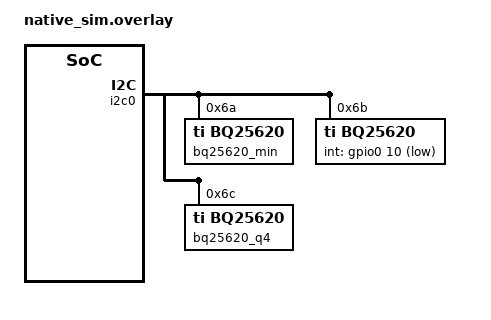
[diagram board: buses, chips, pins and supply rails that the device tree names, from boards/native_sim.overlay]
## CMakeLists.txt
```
# Copyright (c) 2026 Testo SE & Co. KGaA
# SPDX-License-Identifier: Apache-2.0

cmake_minimum_required(VERSION 3.28.0)
find_package(Zephyr REQUIRED HINTS $ENV{ZEPHYR_BASE})
project(bq25620)

target_sources(app PRIVATE src/test_bq25620.c)
target_include_directories(app PRIVATE ${ZEPHYR_BASE}/drivers/mfd)
```

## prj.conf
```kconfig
CONFIG_ZTEST=y
CONFIG_I2C=y
CONFIG_GPIO=y
CONFIG_EMUL=y
CONFIG_LOG=y

CONFIG_CHARGER=y
```

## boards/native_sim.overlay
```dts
/*
 * Copyright (c) 2026 Testo SE & Co. KGaA
 *
 * SPDX-License-Identifier: Apache-2.0
 */

#include <zephyr/dt-bindings/gpio/gpio.h>

&i2c0 {
	/* Minimal configuration, initialized by the test */
	bq25620_min: bq25620@6a {
		compatible = "ti,bq25620";
		reg = <0x6a>;
		status = "okay";

		charger_min: charger {
			compatible = "ti,bq25620-charger";
			constant-charge-current-max-microamp = <1040000>;
			constant-charge-voltage-max-microvolt = <4200000>;
			zephyr,deferred-init;
		};
	};

	bq25620: bq25620@6b {
		compatible = "ti,bq25620";
		reg = <0x6b>;
		int-gpios = <&gpio0 10 GPIO_ACTIVE_LOW>;
		status = "okay";

		charger: charger {
			compatible = "ti,bq25620-charger";
			ce-gpios = <&gpio0 11 GPIO_ACTIVE_LOW>;
			constant-charge-current-max-microamp = <2000000>;
			constant-charge-voltage-max-microvolt = <4350000>;
			precharge-current-microamp = <80000>;
			charge-term-current-microamp = <120000>;
			re-charge-threshold-microvolt = <200000>;
			ti,input-current-limit-microamp = <500000>;
			ti,input-voltage-limit-microvolt = <4400000>;
			ti,min-sys-voltage-microvolt = <3120000>;
			ti,vindpm-bat-track-microvolt = <0>;
			ti,q1-fullon;
			ti,disable-timer-2x;
			ti,precharge-timer = "0.62h";
			ti,fast-charge-timer = "28h";
			ti,disable-auto-battery-discharge;
			ti,vbus-ovp-microvolt = <6300000>;
			ti,ibat-peak-current-microamp = <6000000>;
			ti,charge-rate = "2C";
			ti,thermal-regulation-celsius = <60>;
			ti,switching-frequency-hz = <1650000>;
			ti,converter-drive-strength = "normal";
			ti,ts-ignore;
		};
	};

	/* Battery FET forced on, initialized by the test */
	bq25620_q4: bq25620@6c {
		compatible = "ti,bq25620";
		reg = <0x6c>;
		status = "okay";

		charger_q4: charger {
			compatible = "ti,bq25620-charger";
			constant-charge-current-max-microamp = <1040000>;
			constant-charge-voltage-max-microvolt = <4200000>;
			ti,q4-fullon;
			zephyr,deferred-init;
		};
	};
};
```

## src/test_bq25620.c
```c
/*
 * Copyright (c) 2026 Testo SE & Co. KGaA
 *
 * SPDX-License-Identifier: Apache-2.0
 */

#include <zephyr/device.h>
#include <zephyr/drivers/charger.h>
#include <zephyr/drivers/emul.h>
#include <zephyr/drivers/gpio.h>
#include <zephyr/drivers/gpio/gpio_emul.h>
#include <zephyr/kernel.h>
#include <zephyr/sys/util.h>
#include <zephyr/ztest.h>

#include "emul_bq25620.h"
#include "mfd_bq25620.h"

#define CHARGER_NODE DT_NODELABEL(charger)
#define MFD_NODE     DT_NODELABEL(bq25620)

static const struct gpio_dt_spec int_gpio = GPIO_DT_SPEC_GET(MFD_NODE, int_gpios);
static const struct gpio_dt_spec ce_gpio = GPIO_DT_SPEC_GET(CHARGER_NODE, ce_gpios);

struct bq25620_fixture {
	const struct device *dev;
	const struct emul *target;
	/* Registers after the driver initialization */
	uint8_t init_regs[BQ25620_REG_COUNT];
};

static enum charger_status notified_status;
static enum charger_online notified_online;
static int status_notifications;
static int online_notifications;

static void status_notifier(enum charger_status status)
{
	notified_status = status;
	status_notifications++;
}

static void online_notifier(enum charger_online online)
{
	notified_online = online;
	online_notifications++;
}

static void *bq25620_setup(void)
{
	static struct bq25620_fixture fixture;

	fixture.dev = DEVICE_DT_GET(CHARGER_NODE);
	fixture.target = EMUL_DT_GET(MFD_NODE);

	zassert_true(device_is_ready(fixture.dev), "Charger not ready");

	for (uint8_t reg = 0; reg < BQ25620_REG_COUNT; reg++) {
		fixture.init_regs[reg] = emul_bq25620_get_reg(fixture.target, reg);
	}

	return &fixture;
}

static void bq25620_before(void *f)
{
	struct bq25620_fixture *fixture = f;

	emul_bq25620_set_reg(fixture->target, BQ25620_REG_CHG_STAT_0, 0);
	emul_bq25620_set_reg(fixture->target, BQ25620_REG_CHG_STAT_1, 0);
	emul_bq25620_set_reg(fixture->target, BQ25620_REG_FAULT_STAT_0, 0);
	zassert_ok(charger_charge_enable(fixture->dev, false));
}

static uint32_t get_uint(const struct device *dev, charger_prop_t prop)
{
	union charger_propval val = {};

	zassert_ok(charger_get_prop(dev, prop, &val), "Reading property %u failed", prop);

	/* All limit properties share the uint32_t representation */
	return val.const_charge_current_ua;
}

static int set_uint(const struct device *dev, charger_prop_t prop, uint32_t value)
{
	union charger_propval val = {.const_charge_current_ua = value};

	return charger_set_prop(dev, prop, &val);
}

static void set_vbus_chg_stat(const struct emul *target, uint8_t vbus_stat, uint8_t chg_stat)
{
	emul_bq25620_set_reg(target, BQ25620_REG_CHG_STAT_1,
			     FIELD_PREP(BQ25620_CHG_STAT_1_VBUS_STAT, vbus_stat) |
				     FIELD_PREP(BQ25620_CHG_STAT_1_CHG_STAT, chg_stat));
}

static enum charger_status get_status(const struct device *dev)
{
	union charger_propval val = {};

	zassert_ok(charger_get_prop(dev, CHARGER_PROP_STATUS, &val));

	return val.status;
}

static enum charger_online get_online(const struct device *dev)
{
	union charger_propval val = {};

	zassert_ok(charger_get_prop(dev, CHARGER_PROP_ONLINE, &val));

	return val.online;
}

static enum charger_charge_type get_charge_type(const struct device *dev)
{
	union charger_propval val = {};

	zassert_ok(charger_get_prop(dev, CHARGER_PROP_CHARGE_TYPE, &val));

	return val.charge_type;
}

static enum charger_health get_health(const struct device *dev)
{
	union charger_propval val = {};

	zassert_ok(charger_get_prop(dev, CHARGER_PROP_HEALTH, &val));

	return val.health;
}

static uint16_t init_reg16(const struct bq25620_fixture *fixture, uint8_t reg)
{
	return fixture->init_regs[reg] | (fixture->init_regs[reg + 1] << 8);
}

ZTEST_F(bq25620, test_init_limits)
{
	/* 2 A charge current, 80 mA steps */
	zassert_equal(init_reg16(fixture, BQ25620_REG_ICHG), 25 << BQ25620_ICHG_SHIFT);
	/* 4.35 V charge voltage, 10 mV steps */
	zassert_equal(init_reg16(fixture, BQ25620_REG_VREG), 435 << BQ25620_VREG_SHIFT);
	/* 80 mA pre-charge current, 20 mA steps */
	zassert_equal(init_reg16(fixture, BQ25620_REG_IPRECHG), 4 << BQ25620_IPRECHG_SHIFT);
	/* 120 mA termination current, 10 mA steps */
	zassert_equal(init_reg16(fixture, BQ25620_REG_ITERM), 12 << BQ25620_ITERM_SHIFT);
	/* 500 mA input current limit, 20 mA steps */
	zassert_equal(init_reg16(fixture, BQ25620_REG_IINDPM), 25 << BQ25620_IINDPM_SHIFT);
	/* 4.4 V input voltage limit, 40 mV steps */
	zassert_equal(init_reg16(fixture, BQ25620_REG_VINDPM), 110 << BQ25620_VINDPM_SHIFT);
	/* 3.12 V minimal system voltage, 80 mV steps */
	zassert_equal(init_reg16(fixture, BQ25620_REG_VSYSMIN), 39 << BQ25620_VSYSMIN_SHIFT);
}

ZTEST_F(bq25620, test_init_ctrl)
{
	/* Q1_FULLON, EN_TERM (reset value), VRECHG 200 mV, no VINDPM tracking */
	zassert_equal(fixture->init_regs[BQ25620_REG_CHG_CTRL_0], 0x85);
	/* EN_AUTO_INDET, EN_DCP_BIAS, EN_SAFETY_TMRS (reset values), 0.62 h, 28 h */
	zassert_equal(fixture->init_regs[BQ25620_REG_TIMER_CTRL], 0x57);
	/* EN_CHG (reset value), watchdog and auto battery discharge disabled */
	zassert_equal(fixture->init_regs[BQ25620_REG_CHG_CTRL_1], BQ25620_CHG_CTRL_1_EN_CHG);
	/* TREG 60 C, 1.65 MHz, normal drive strength, 6.3 V OVP, reserved bit 1 */
	zassert_equal(fixture->init_regs[BQ25620_REG_CHG_CTRL_2], 0x26);
	/* IBAT_PK 6 A, 2C */
	zassert_equal(fixture->init_regs[BQ25620_REG_CHG_CTRL_4], 0x81);
	/* TS_IGNORE on top of the reset value */
	zassert_equal(fixture->init_regs[BQ25620_REG_NTC_CTRL_0], 0xbd);
}

ZTEST(bq25620, test_init_defaults)
{
	const struct device *dev = DEVICE_DT_GET(DT_NODELABEL(charger_min));
	const struct emul *target = EMUL_DT_GET(DT_NODELABEL(bq25620_min));
	union charger_propval val = {};

	zassert_false(device_is_ready(dev));

	/* Settings left by a previous boot, the device registers are not reset */
	emul_bq25620_set_reg(target, BQ25620_REG_IINDPM, 0x90);
	emul_bq25620_set_reg(target, BQ25620_REG_IINDPM + 1, 0x01);
	emul_bq25620_set_reg(target, BQ25620_REG_IPRECHG, 0xf0);
	emul_bq25620_set_reg(target, BQ25620_REG_IPRECHG + 1, 0x01);
	emul_bq25620_set_reg(target, BQ25620_REG_ITERM, 0xf8);
	emul_bq25620_set_reg(target, BQ25620_REG_ITERM + 1, 0x01);
	emul_bq25620_set_reg(target, BQ25620_REG_VINDPM, 0x80);
	emul_bq25620_set_reg(target, BQ25620_REG_VINDPM + 1, 0x34);
	emul_bq25620_set_reg(target, BQ25620_REG_VSYSMIN, 0x00);
	emul_bq25620_set_reg(target, BQ25620_REG_VSYSMIN + 1, 0x08);
	emul_bq25620_set_reg(target, BQ25620_REG_CHG_CTRL_0, 0xc5);
	emul_bq25620_set_reg(target, BQ25620_REG_TIMER_CTRL, 0x53);
	emul_bq25620_set_reg(target, BQ25620_REG_CHG_CTRL_1, 0x00);
	emul_bq25620_set_reg(target, BQ25620_REG_CHG_CTRL_2, 0x26);
	emul_bq25620_set_reg(target, BQ25620_REG_CHG_CTRL_4, 0x83);
	emul_bq25620_set_reg(target, BQ25620_REG_NTC_CTRL_0, 0xbd);

	zassert_ok(device_init(dev));

	/* Charge current and voltage from the devicetree */
	zassert_equal(emul_bq25620_get_reg(target, BQ25620_REG_ICHG), 0x40);
	zassert_equal(emul_bq25620_get_reg(target, BQ25620_REG_ICHG + 1), 0x03);
	zassert_equal(emul_bq25620_get_reg(target, BQ25620_REG_VREG), 0x20);
	zassert_equal(emul_bq25620_get_reg(target, BQ25620_REG_VREG + 1), 0x0d);

	/* The input current limit is left to the adapter detection */
	zassert_equal(emul_bq25620_get_reg(target, BQ25620_REG_IINDPM), 0x90);
	zassert_equal(emul_bq25620_get_reg(target, BQ25620_REG_IINDPM + 1), 0x01);

	/* All other settings are back at their reset values */
	zassert_equal(emul_bq25620_get_reg(target, BQ25620_REG_IPRECHG), 0x50);
	zassert_equal(emul_bq25620_get_reg(target, BQ25620_REG_IPRECHG + 1), 0x00);
	zassert_equal(emul_bq25620_get_reg(target, BQ25620_REG_ITERM), 0x30);
	zassert_equal(emul_bq25620_get_reg(target, BQ25620_REG_ITERM + 1), 0x00);
	zassert_equal(emul_bq25620_get_reg(target, BQ25620_REG_VINDPM), 0x60);
	zassert_equal(emul_bq25620_get_reg(target, BQ25620_REG_VINDPM + 1), 0x0e);
	zassert_equal(emul_bq25620_get_reg(target, BQ25620_REG_VSYSMIN), 0x00);
	zassert_equal(emul_bq25620_get_reg(target, BQ25620_REG_VSYSMIN + 1), 0x0b);
	zassert_equal(emul_bq25620_get_reg(target, BQ25620_REG_CHG_CTRL_0), 0x06);
	zassert_equal(emul_bq25620_get_reg(target, BQ25620_REG_TIMER_CTRL), 0x5c);
	/* EN_CHG and EN_AUTO_IBATDIS set, watchdog disabled by the MFD */
	zassert_equal(emul_bq25620_get_reg(target, BQ25620_REG_CHG_CTRL_1), 0xa0);
	zassert_equal(emul_bq25620_get_reg(target, BQ25620_REG_CHG_CTRL_2), 0x4f);
	zassert_equal(emul_bq25620_get_reg(target, BQ25620_REG_CHG_CTRL_4), 0xc0);
	zassert_equal(emul_bq25620_get_reg(target, BQ25620_REG_NTC_CTRL_0), 0x3d);

	/* Without a charge enable pin, charging is enabled after initialization */
	set_vbus_chg_stat(target, 0x3, BQ25620_CHG_STAT_CC);
	zassert_equal(get_status(dev), CHARGER_STATUS_CHARGING);

	/* Notifications need the interrupt pin */
	val.status_notification = status_notifier;
	zassert_equal(charger_set_prop(dev, CHARGER_PROP_STATUS_NOTIFICATION, &val), -ENOTSUP);
	val.online_notification = online_notifier;
	zassert_equal(charger_set_prop(dev, CHARGER_PROP_ONLINE_NOTIFICATION, &val), -ENOTSUP);
}

ZTEST(bq25620, test_q4_fullon_limits)
{
	const struct device *dev = DEVICE_DT_GET(DT_NODELABEL(charger_q4));
	const struct emul *target = EMUL_DT_GET(DT_NODELABEL(bq25620_q4));
	uint8_t ctrl;

	zassert_false(device_is_ready(dev));
	zassert_ok(device_init(dev));

	ctrl = emul_bq25620_get_reg(target, BQ25620_REG_CHG_CTRL_0);
	zassert_not_equal(ctrl & BQ25620_CHG_CTRL_0_Q4_FULLON, 0);

	/* Pre-charge current reset value, termination current raised to its minimum */
	zassert_equal(get_uint(dev, CHARGER_PROP_PRECHARGE_CURRENT_UA), 100000);
	zassert_equal(get_uint(dev, CHARGER_PROP_CHARGE_TERM_CURRENT_UA), 120000);

	zassert_ok(set_uint(dev, CHARGER_PROP_PRECHARGE_CURRENT_UA, 80000));
	zassert_equal(get_uint(dev, CHARGER_PROP_PRECHARGE_CURRENT_UA), 80000);
	zassert_equal(set_uint(dev, CHARGER_PROP_PRECHARGE_CURRENT_UA, 60000), -EINVAL);
	zassert_equal(get_uint(dev, CHARGER_PROP_PRECHARGE_CURRENT_UA), 80000);

	zassert_ok(set_uint(dev, CHARGER_PROP_CHARGE_TERM_CURRENT_UA, 130000));
	zassert_equal(get_uint(dev, CHARGER_PROP_CHARGE_TERM_CURRENT_UA), 130000);
	zassert_equal(set_uint(dev, CHARGER_PROP_CHARGE_TERM_CURRENT_UA, 110000), -EINVAL);
	zassert_equal(get_uint(dev, CHARGER_PROP_CHARGE_TERM_CURRENT_UA), 130000);
}

ZTEST_F(bq25620, test_init_masks)
{
	/* Only the VBUS and charge status events used by the charger are unmasked */
	zassert_equal(fixture->init_regs[BQ25620_REG_CHG_MASK_0], BQ25620_CHG_MASK_0_ALL);
	zassert_equal(fixture->init_regs[BQ25620_REG_CHG_MASK_1], 0x00);
	zassert_equal(fixture->init_regs[BQ25620_REG_FAULT_MASK_0], BQ25620_FAULT_MASK_0_ALL);
}

ZTEST_F(bq25620, test_set_limits)
{
	/* Values are rounded down to the step size */
	zassert_ok(set_uint(fixture->dev, CHARGER_PROP_CONSTANT_CHARGE_CURRENT_UA, 1000000));
	zassert_equal(get_uint(fixture->dev, CHARGER_PROP_CONSTANT_CHARGE_CURRENT_UA), 960000);

	zassert_ok(set_uint(fixture->dev, CHARGER_PROP_CONSTANT_CHARGE_VOLTAGE_UV, 4205000));
	zassert_equal(get_uint(fixture->dev, CHARGER_PROP_CONSTANT_CHARGE_VOLTAGE_UV), 4200000);

	zassert_ok(set_uint(fixture->dev, CHARGER_PROP_PRECHARGE_CURRENT_UA, 620000));
	zassert_equal(get_uint(fixture->dev, CHARGER_PROP_PRECHARGE_CURRENT_UA), 620000);

	zassert_ok(set_uint(fixture->dev, CHARGER_PROP_CHARGE_TERM_CURRENT_UA, 10000));
	zassert_equal(get_uint(fixture->dev, CHARGER_PROP_CHARGE_TERM_CURRENT_UA), 10000);

	zassert_ok(set_uint(fixture->dev, CHARGER_PROP_INPUT_REGULATION_CURRENT_UA, 3200000));
	zassert_equal(get_uint(fixture->dev, CHARGER_PROP_INPUT_REGULATION_CURRENT_UA), 3200000);

	zassert_ok(set_uint(fixture->dev, CHARGER_PROP_INPUT_REGULATION_VOLTAGE_UV, 16800000));
	zassert_equal(get_uint(fixture->dev, CHARGER_PROP_INPUT_REGULATION_VOLTAGE_UV), 16800000);
}

ZTEST_F(bq25620, test_set_limits_out_of_range)
{
	/* The charge current and voltage are limited by the devicetree */
	zassert_equal(set_uint(fixture->dev, CHARGER_PROP_CONSTANT_CHARGE_CURRENT_UA, 2080000),
		      -EINVAL);
	zassert_equal(set_uint(fixture->dev, CHARGER_PROP_CONSTANT_CHARGE_CURRENT_UA, 0), -EINVAL);
	zassert_equal(set_uint(fixture->dev, CHARGER_PROP_CONSTANT_CHARGE_VOLTAGE_UV, 4360000),
		      -EINVAL);
	zassert_equal(set_uint(fixture->dev, CHARGER_PROP_CONSTANT_CHARGE_VOLTAGE_UV, 3490000),
		      -EINVAL);

	/* The other limits by the device */
	zassert_equal(set_uint(fixture->dev, CHARGER_PROP_PRECHARGE_CURRENT_UA, 640000), -EINVAL);
	zassert_equal(set_uint(fixture->dev, CHARGER_PROP_CHARGE_TERM_CURRENT_UA, 0), -EINVAL);
	zassert_equal(set_uint(fixture->dev, CHARGER_PROP_INPUT_REGULATION_CURRENT_UA, 90000),
		      -EINVAL);
	zassert_equal(set_uint(fixture->dev, CHARGER_PROP_INPUT_REGULATION_VOLTAGE_UV, 16840000),
		      -EINVAL);
}

ZTEST_F(bq25620, test_unsupported_props)
{
	union charger_propval val = {};

	zassert_equal(charger_get_prop(fixture->dev, CHARGER_PROP_PRESENT, &val), -ENOTSUP);
	zassert_equal(charger_get_prop(fixture->dev, CHARGER_PROP_MAX, &val), -ENOTSUP);
	zassert_equal(charger_set_prop(fixture->dev, CHARGER_PROP_ONLINE, &val), -ENOTSUP);
	zassert_equal(charger_set_prop(fixture->dev, CHARGER_PROP_MAX, &val), -ENOTSUP);
}

ZTEST_F(bq25620, test_charge_enable)
{
	uint8_t ctrl;

	/* Charging stays disabled by the charge enable pin until it is enabled */
	zassert_equal(gpio_emul_output_get(ce_gpio.port, ce_gpio.pin), 1);

	zassert_ok(charger_charge_enable(fixture->dev, true));
	zassert_equal(gpio_emul_output_get(ce_gpio.port, ce_gpio.pin), 0);
	ctrl = emul_bq25620_get_reg(fixture->target, BQ25620_REG_CHG_CTRL_1);
	zassert_not_equal(ctrl & BQ25620_CHG_CTRL_1_EN_CHG, 0);

	zassert_ok(charger_charge_enable(fixture->dev, false));
	zassert_equal(gpio_emul_output_get(ce_gpio.port, ce_gpio.pin), 1);
	ctrl = emul_bq25620_get_reg(fixture->target, BQ25620_REG_CHG_CTRL_1);
	zassert_equal(ctrl & BQ25620_CHG_CTRL_1_EN_CHG, 0);
}

ZTEST_F(bq25620, test_online)
{
	set_vbus_chg_stat(fixture->target, 0x0, BQ25620_CHG_STAT_NOT_CHARGING);
	zassert_equal(get_online(fixture->dev), CHARGER_ONLINE_OFFLINE);

	/* USB SDP, CDP, DCP, unknown, non-standard and HVDCP adapters */
	for (uint8_t vbus_stat = 0x1; vbus_stat <= 0x6; vbus_stat++) {
		set_vbus_chg_stat(fixture->target, vbus_stat, BQ25620_CHG_STAT_NOT_CHARGING);
		zassert_equal(get_online(fixture->dev), CHARGER_ONLINE_FIXED, "VBUS_STAT %u",
			      vbus_stat);
	}

	set_vbus_chg_stat(fixture->target, BQ25620_VBUS_STAT_OTG, BQ25620_CHG_STAT_NOT_CHARGING);
	zassert_equal(get_online(fixture->dev), CHARGER_ONLINE_OFFLINE);
}

ZTEST_F(bq25620, test_status)
{
	set_vbus_chg_stat(fixture->target, 0x0, BQ25620_CHG_STAT_NOT_CHARGING);
	zassert_equal(get_status(fixture->dev), CHARGER_STATUS_DISCHARGING);

	set_vbus_chg_stat(fixture->target, BQ25620_VBUS_STAT_OTG, BQ25620_CHG_STAT_NOT_CHARGING);
	zassert_equal(get_status(fixture->dev), CHARGER_STATUS_DISCHARGING);

	/* Charging disabled */
	set_vbus_chg_stat(fixture->target, 0x3, BQ25620_CHG_STAT_CC);
	zassert_equal(get_status(fixture->dev), CHARGER_STATUS_NOT_CHARGING);

	zassert_ok(charger_charge_enable(fixture->dev, true));
	zassert_equal(get_status(fixture->dev), CHARGER_STATUS_CHARGING);

	set_vbus_chg_stat(fixture->target, 0x3, BQ25620_CHG_STAT_CV);
	zassert_equal(get_status(fixture->dev), CHARGER_STATUS_CHARGING);

	set_vbus_chg_stat(fixture->target, 0x3, BQ25620_CHG_STAT_TOP_OFF);
	zassert_equal(get_status(fixture->dev), CHARGER_STATUS_CHARGING);

	set_vbus_chg_stat(fixture->target, 0x3, BQ25620_CHG_STAT_NOT_CHARGING);
	zassert_equal(get_status(fixture->dev), CHARGER_STATUS_NOT_CHARGING);
}

ZTEST_F(bq25620, test_charge_type)
{
	set_vbus_chg_stat(fixture->target, 0x3, BQ25620_CHG_STAT_CC);
	zassert_equal(get_charge_type(fixture->dev), CHARGER_CHARGE_TYPE_NONE);

	zassert_ok(charger_charge_enable(fixture->dev, true));
	zassert_equal(get_charge_type(fixture->dev), CHARGER_CHARGE_TYPE_FAST);

	set_vbus_chg_stat(fixture->target, 0x3, BQ25620_CHG_STAT_CV);
	zassert_equal(get_charge_type(fixture->dev), CHARGER_CHARGE_TYPE_STANDARD);

	set_vbus_chg_stat(fixture->target, 0x3, BQ25620_CHG_STAT_TOP_OFF);
	zassert_equal(get_charge_type(fixture->dev), CHARGER_CHARGE_TYPE_TRICKLE);

	set_vbus_chg_stat(fixture->target, 0x3, BQ25620_CHG_STAT_NOT_CHARGING);
	zassert_equal(get_charge_type(fixture->dev), CHARGER_CHARGE_TYPE_NONE);
}

ZTEST_F(bq25620, test_health_ts)
{
	static const struct {
		uint8_t ts_stat;
		enum charger_health health;
	} cases[] = {
		{BQ25620_TS_STAT_NORMAL, CHARGER_HEALTH_GOOD},
		{BQ25620_TS_STAT_COLD, CHARGER_HEALTH_COLD},
		{BQ25620_TS_STAT_HOT, CHARGER_HEALTH_HOT},
		{BQ25620_TS_STAT_COOL, CHARGER_HEALTH_COOL},
		{BQ25620_TS_STAT_WARM, CHARGER_HEALTH_WARM},
		{BQ25620_TS_STAT_PRECOOL, CHARGER_HEALTH_COOL},
		{BQ25620_TS_STAT_PREWARM, CHARGER_HEALTH_WARM},
		{BQ25620_TS_STAT_BIAS_FAULT, CHARGER_HEALTH_UNSPEC_FAILURE},
	};

	ARRAY_FOR_EACH(cases, i) {
		emul_bq25620_set_reg(fixture->target, BQ25620_REG_FAULT_STAT_0, cases[i].ts_stat);
		zassert_equal(get_health(fixture->dev), cases[i].health, "TS_STAT %u",
			      cases[i].ts_stat);
	}
}

ZTEST_F(bq25620, test_health_faults)
{
	emul_bq25620_set_reg(fixture->target, BQ25620_REG_CHG_STAT_0, BQ25620_CHG_STAT_0_WD_STAT);
	zassert_equal(get_health(fixture->dev), CHARGER_HEALTH_WATCHDOG_TIMER_EXPIRE);

	emul_bq25620_set_reg(fixture->target, BQ25620_REG_CHG_STAT_0,
			     BQ25620_CHG_STAT_0_SAFETY_TMR_STAT);
	zassert_equal(get_health(fixture->dev), CHARGER_HEALTH_SAFETY_TIMER_EXPIRE);

	emul_bq25620_set_reg(fixture->target, BQ25620_REG_FAULT_STAT_0,
			     BQ25620_FAULT_STAT_0_VBUS_FAULT);
	zassert_equal(get_health(fixture->dev), CHARGER_HEALTH_UNSPEC_FAILURE);

	emul_bq25620_set_reg(fixture->target, BQ25620_REG_FAULT_STAT_0,
			     BQ25620_FAULT_STAT_0_BAT_FAULT);
	zassert_equal(get_health(fixture->dev), CHARGER_HEALTH_OVERVOLTAGE);

	/* Thermal shutdown takes precedence over all other conditions */
	emul_bq25620_set_reg(fixture->target, BQ25620_REG_FAULT_STAT_0,
			     BQ25620_FAULT_STAT_0_TSHUT | BQ25620_FAULT_STAT_0_BAT_FAULT |
				     BQ25620_TS_STAT_HOT);
	zassert_equal(get_health(fixture->dev), CHARGER_HEALTH_OVERHEAT);
}

static void trigger_interrupt(const struct emul *target, uint8_t chg_flag_1)
{
	emul_bq25620_set_reg(target, BQ25620_REG_CHG_FLAG_1, chg_flag_1);

	/* The interrupt pin is active low, a falling edge raises the interrupt */
	zassert_ok(gpio_emul_input_set(int_gpio.port, int_gpio.pin, 1));
	zassert_ok(gpio_emul_input_set(int_gpio.port, int_gpio.pin, 0));

	k_sleep(K_MSEC(10));
}

ZTEST_F(bq25620, test_notifications)
{
	union charger_propval val;

	val.status_notification = status_notifier;
	zassert_ok(charger_set_prop(fixture->dev, CHARGER_PROP_STATUS_NOTIFICATION, &val));
	val.online_notification = online_notifier;
	zassert_ok(charger_set_prop(fixture->dev, CHARGER_PROP_ONLINE_NOTIFICATION, &val));

	status_notifications = 0;
	online_notifications = 0;

	/* Adapter plugged in */
	zassert_ok(charger_charge_enable(fixture->dev, true));
	set_vbus_chg_stat(fixture->target, 0x3, BQ25620_CHG_STAT_CC);
	trigger_interrupt(fixture->target, BIT(0));

	zassert_equal(status_notifications, 1);
	zassert_equal(notified_status, CHARGER_STATUS_CHARGING);
	zassert_equal(online_notifications, 1);
	zassert_equal(notified_online, CHARGER_ONLINE_FIXED);

	/* The flags have been read and cleared */
	zassert_equal(emul_bq25620_get_reg(fixture->target, BQ25620_REG_CHG_FLAG_1), 0);

	/* Charge status change only, the online state is not notified */
	set_vbus_chg_stat(fixture->target, 0x3, BQ25620_CHG_STAT_NOT_CHARGING);
	trigger_interrupt(fixture->target, BIT(3));

	zassert_equal(status_notifications, 2);
	zassert_equal(notified_status, CHARGER_STATUS_NOT_CHARGING);
	zassert_equal(online_notifications, 1);

	/* Adapter removed */
	set_vbus_chg_stat(fixture->target, 0x0, BQ25620_CHG_STAT_NOT_CHARGING);
	trigger_interrupt(fixture->target, BIT(0));

	zassert_equal(status_notifications, 3);
	zassert_equal(notified_status, CHARGER_STATUS_DISCHARGING);
	zassert_equal(online_notifications, 2);
	zassert_equal(notified_online, CHARGER_ONLINE_OFFLINE);

	val.status_notification = NULL;
	zassert_ok(charger_set_prop(fixture->dev, CHARGER_PROP_STATUS_NOTIFICATION, &val));
	val.online_notification = NULL;
	zassert_ok(charger_set_prop(fixture->dev, CHARGER_PROP_ONLINE_NOTIFICATION, &val));
}

ZTEST_SUITE(bq25620, NULL, bq25620_setup, bq25620_before, NULL, NULL);
```
